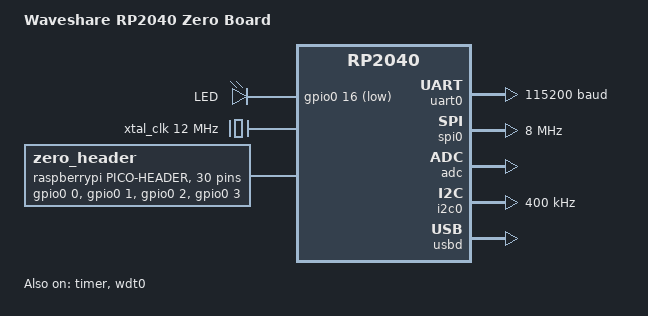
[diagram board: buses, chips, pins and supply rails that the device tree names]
/dts-v1/;

#include <rpi_pico/rp2040.dtsi>
#include "waveshare_rp2040_zero_pinctrl.dtsi"
#include <freq.h>
#include <zephyr/dt-bindings/i2c/i2c.h>


/ {
    model = "Waveshare RP2040 Zero Board";
    compatible = "waveshare,rp2040-zero", "raspberrypi,rp2040";


    chosen {
        zephyr,code-partition = &code_partition;
        zephyr,sram = &sram0;
        zephyr,flash = &flash0;
    };

    leds {
        compatible = "gpio-leds";
        led: led_0 {
            gpios = <&gpio0 16 GPIO_ACTIVE_LOW>;
            label = "LED";
        };
    };

    /* These aliases are provided for compatibility with samples */
    aliases {
        led0 = &led;
    };

    xtal_clk: xtal-clk {
        compatible = "fixed-clock";
        clock-frequency = <12000000>;
        #clock-cells = <0>;
    };

    aliases {
        watchdog0 = &wdt0;
    };


    zero_header: connector {
        compatible = "raspberrypi,pico-header";
	#gpio-cells = <2>;
	gpio-map-mask = <0xffffffff 0xffffffc0>;
	gpio-map-pass-thru = <0 0x3f>;
	gpio-map = <0 0 &gpio0 0 0>,	/* GP0 */
		<1 0 &gpio0 1 0>,	/* GP1 */
		<2 0 &gpio0 2 0>,	/* GP2 */
		<3 0 &gpio0 3 0>,	/* GP3 */
		<4 0 &gpio0 4 0>,	/* GP4 */
		<5 0 &gpio0 5 0>,	/* GP5 */
		<6 0 &gpio0 6 0>,	/* GP6 */
		<7 0 &gpio0 7 0>,	/* GP7 */
		<8 0 &gpio0 8 0>,	/* GP8 */
		<9 0 &gpio0 9 0>,	/* GP9 */
		<10 0 &gpio0 10 0>,	/* GP10 */
		<11 0 &gpio0 11 0>,	/* GP11 */
		<12 0 &gpio0 12 0>,	/* GP12 */
		<13 0 &gpio0 13 0>,	/* GP13 */
		<14 0 &gpio0 14 0>,	/* GP14 */
		<15 0 &gpio0 15 0>,	/* GP15 */
		<16 0 &gpio0 16 0>,	/* GP16 */
		<17 0 &gpio0 17 0>,	/* GP17 */
		<18 0 &gpio0 18 0>,	/* GP18 */
		<19 0 &gpio0 19 0>,	/* GP19 */
		<20 0 &gpio0 20 0>,	/* GP20 */
		<21 0 &gpio0 21 0>,	/* GP21 */
		<22 0 &gpio0 22 0>,	/* GP22 */
		<23 0 &gpio0 23 0>,	/* GP23 */
		<24 0 &gpio0 24 0>,	/* GP24 */
		<25 0 &gpio0 25 0>,	/* GP25 */
		<26 0 &gpio0 26 0>,	/* GP26 */
		<27 0 &gpio0 27 0>,	/* GP27 */
		<28 0 &gpio0 28 0>,	/* GP28 */
		<29 0 &gpio0 29 0>;	/* GP29 */
    };

};



&flash0 {
    /* 2MB of flash minus the 0x100 used for
     * the second stage bootloader
     */
    reg = <0x10000000 DT_SIZE_M(2)>;

    partitions {
        compatible = "fixed-partitions";
	#address-cells = <1>;
	#size-cells = <1>;

        /*
	 * Start at the beginning of usable flash, 8MB minus the
	 * second stage space and the 16 KiB reserved for settings
	 */
	code_partition: partition@100 {
	    label = "code";
	    reg = <0x100 (DT_SIZE_M(2) - DT_SIZE_K(16))>;
	    read-only;
	};

        /*
	 * The final 16 KiB is reserved for the application.
	 * Storage partition may be used by FCB or LittleFS.
	 */
        storage_partition: partition@7fbe00 {
	    label = "storage";
	    reg = <0x007fbe00 DT_SIZE_K(16)>;
	};
    };
};

&uart0 {
    current-speed = <115200>;
    pinctrl-0 = <&uart0_default>;
    pinctrl-names = "default";
};

&spi0 {
    pinctrl-0 = <&spi0_default>;
    pinctrl-names = "default";
    clock-frequency = <DT_FREQ_M(8)>;
};

&adc {
    status = "okay";
    pinctrl-0 = <&adc_default>;
    pinctrl-names = "default";
};

&i2c0 {
    pinctrl-0 = <&i2c0_default>;
    pinctrl-names = "default";
    clock-frequency = <I2C_BITRATE_FAST>;
};

&gpio0 {
    status = "okay";
};

&timer {
    status = "okay";
};

&wdt0 {
    status = "okay";
};

zephyr_udc0: &usbd {
    status = "okay";
};

// &vreg {
// 	regulator-always-on;
// 	regulator-allowed-modes = <REGULATOR_RPI_PICO_MODE_NORMAL>;
// };

// zero_spi: &spi0 {};
